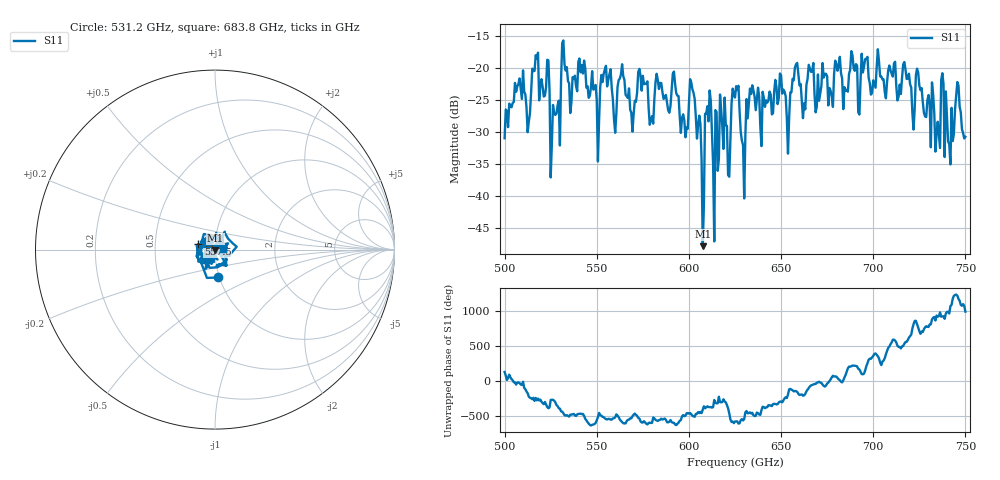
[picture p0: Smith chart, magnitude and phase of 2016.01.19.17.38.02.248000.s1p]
!Created with skrf (http://scikit-rf.org).
# GHz S RI R 50.0
!freq ReS11 ImS11
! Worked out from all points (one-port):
!   401 points, 500 GHz to 750 GHz, reference 50 ohm
!   lowest |S11| = -47.9 dB at 607.5 GHz (marker M1), VSWR 1.01, Z = 50.2 - j0.336 ohm
!   |S11| at or under -10 dB: start of sweep to end of sweep
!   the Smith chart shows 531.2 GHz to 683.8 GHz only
!   S11 on the Smith chart (normalised r, x): 531.2 GHz: 0.99, -0.31; 557.5 GHz: 0.83, +0.05; 683.8 GHz: 1.10, +0.01
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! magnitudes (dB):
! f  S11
! 500 GHz  -31.0
! 506.9 GHz  -22.9
! 513.1 GHz  -28.4
! 516.9 GHz  -18.0
! 526.2 GHz  -25.8
! 531.2 GHz  -16.1
! 557.5 GHz  -20.2
! 562.5 GHz  -21.7
! 569.4 GHz  -30.0
! 573.8 GHz  -21.2
! 593.8 GHz  -24.4
! 598.1 GHz  -30.9
! 601.9 GHz  -23.3
! 607.5 GHz  -47.9
! 610 GHz  -26.0
! 614.4 GHz  -26.6
! 618.1 GHz  -29.3
! 621.2 GHz  -36.8
! 625 GHz  -24.6
! 629.4 GHz  -32.1
! 633.8 GHz  -24.1
! 656.2 GHz  -21.7
! 683.8 GHz  -26.5
! 687.5 GHz  -20.3
! 718.8 GHz  -21.7
! 735 GHz  -28.4
! 746.2 GHz  -22.8
! 750 GHz  -30.8
